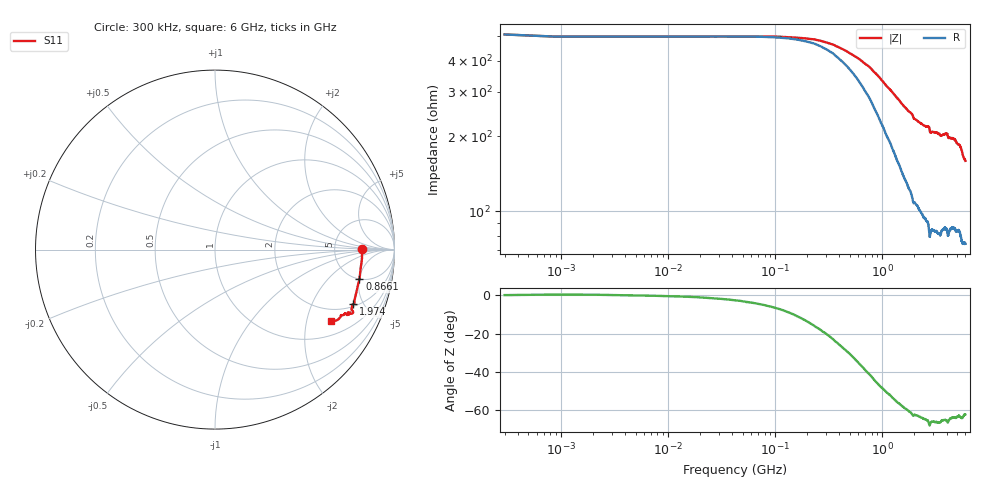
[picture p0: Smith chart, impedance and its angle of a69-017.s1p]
!  3/12/2021  09:45:56
! Ref Plane: 23.990 mm
# MHZ S MA R  50
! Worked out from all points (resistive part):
!   10001 points, 300 kHz to 6 GHz, reference 50 ohm
!   read as one part to ground: R = 500 ohm at 30.3 MHz
!   S11 on the Smith chart (normalised r, x): 300 kHz: 10, +0; 866.1 MHz: 5.06, -5.03; 1.974 GHz: 2.16, -4.19; 6 GHz: 1.48, -2.82
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0.3  0.8212 0.0
394.4803  0.8191 -5.5
750.2625  0.8202 -9.9
866.0567  0.8208 -11.4
1100.645  0.8207 -14.0
1500.225  0.8234 -17.8
1923.804  0.8312 -20.9
1973.601  0.8287 -21.6
2250.188  0.8269 -22.6
2681.566  0.8332 -23.8
2754.762  0.8441 -24.2
2805.16  0.8383 -25.3
2854.357  0.8304 -25.2
3000.15  0.83 -25.1
3439.928  0.8304 -25.5
3504.125  0.8269 -25.9
3750.113  0.8204 -25.6
4009.3  0.8226 -25.4
4072.896  0.828 -25.6
4189.891  0.8172 -26.4
4500.075  0.8088 -26.1
4773.061  0.8058 -26.4
5080.846  0.7942 -27.4
5250.038  0.7924 -27.6
5545.823  0.7914 -29.3
5667.617  0.7817 -30.4
5778.011  0.7716 -30.9
6000  0.7611 -31.7
